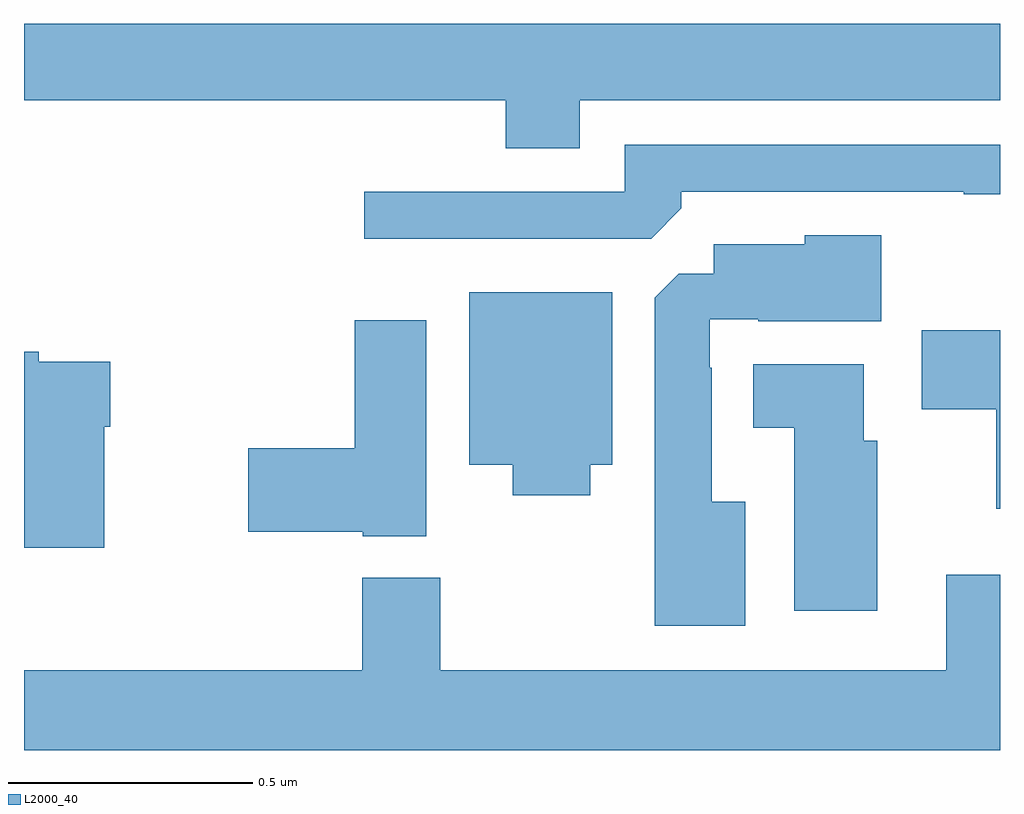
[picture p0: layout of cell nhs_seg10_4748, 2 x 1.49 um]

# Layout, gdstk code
import gdstk
lib = gdstk.Library(unit=1e-6, precision=1e-09)
def P(c, l, *ps):  # polygons
    for p in ps: c.add(gdstk.Polygon(p, *l))
L2000_40 = (2000, 40)

nhs_seg10_4748 = lib.new_cell('nhs_seg10_4748')
P(nhs_seg10_4748, L2000_40, [(171.139,1272.344),(172,1272.344),(172,1272.5),(170,1272.5),(170,1272.344),(170.987,1272.344),(170.987,1272.245),(171.139,1272.245)],
  [(171.347,1272.122),(171.347,1272.156),(171.926,1272.156),(171.926,1272.151),(172,1272.151),(172,1272.252),(171.231,1272.252),(171.231,1272.156),(170.697,1272.156),(170.697,1272.06),(171.285,1272.06)],
  [(171.478,1271.521),(171.409,1271.521),(171.409,1271.795),(171.405,1271.795),(171.405,1271.895),(171.505,1271.895),(171.505,1271.891),(171.757,1271.891),(171.757,1272.067),(171.6,1272.067),(171.6,1272.049),(171.413,1272.049),(171.413,1271.988),(171.342,1271.988),(171.293,1271.939),(171.293,1271.267),(171.478,1271.267)],
  [(171.16,1271.597),(171.205,1271.597),(171.205,1271.95),(170.912,1271.95),(170.912,1271.597),(171.002,1271.597),(171.002,1271.534),(171.16,1271.534)],
  [(170.824,1271.893),(170.678,1271.893),(170.678,1271.63),(170.46,1271.63),(170.46,1271.459),(170.694,1271.459),(170.694,1271.45),(170.824,1271.45)],
  [(172,1271.872),(171.84,1271.872),(171.84,1271.71),(171.992,1271.71),(171.992,1271.507),(172,1271.507)],
  [(170.164,1271.675),(170.177,1271.675),(170.177,1271.808),(170.03,1271.808),(170.03,1271.828),(170,1271.828),(170,1271.427),(170.164,1271.427)],
  [(171.748,1271.646),(171.721,1271.646),(171.721,1271.803),(171.494,1271.803),(171.494,1271.672),(171.578,1271.672),(171.578,1271.298),(171.748,1271.298)],
  [(172,1271.371),(171.89,1271.371),(171.89,1271.176),(170.853,1271.176),(170.853,1271.365),(170.693,1271.365),(170.693,1271.176),(170,1271.176),(170,1271.012),(172,1271.012)])

lib.write_gds('nhs_seg10_4748.gds')
